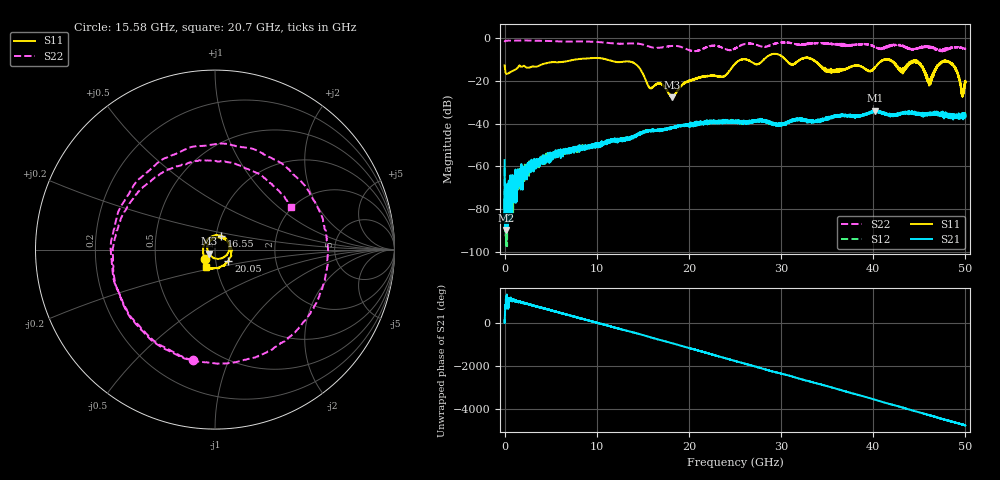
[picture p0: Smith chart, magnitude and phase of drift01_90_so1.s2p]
!Created with skrf (http://scikit-rf.org).
# Hz S RI R 50.0
!freq ReS11 ImS11 ReS21 ImS21 ReS12 ImS12 ReS22 ImS22
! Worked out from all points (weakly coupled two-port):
!   10001 points, 300 kHz to 50 GHz, reference 50 ohm
!   highest |S21| = -34.02 dB at 40.23 GHz (marker M1); lowest = -89.6 dB at 165.3 MHz (marker M2)
!   lowest |S11| = -27.9 dB at 18.15 GHz (marker M3), VSWR 1.08, Z = 46.7 - j2.04 ohm
!   |S11| at or under -10 dB: 10.9 GHz to 26 GHz (15.1 GHz wide, 81.8 % of centre); 33.36 GHz to 41.56 GHz (8.201 GHz wide, 21.9 % of centre); 41.6 GHz to end of sweep (the widest 3 of 15)
!   |S22| runs from -6.5 to -1.4 dB; largest |S21 - S12| = 0.0037
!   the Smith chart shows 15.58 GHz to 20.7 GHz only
!   S11 on the Smith chart (normalised r, x): 15.58 GHz: 0.89, -0.10; 16.55 GHz: 1.06, +0.16; 20.05 GHz: 1.15, -0.15; 20.7 GHz: 0.89, -0.18
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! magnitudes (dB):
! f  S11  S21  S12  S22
! 300 kHz  -12.9  -57.1  -60.9  -2.1
! 165.3 MHz  -16.9  -89.6  -97.0  -1.4
! 2.925 GHz  -13.6  -60.3  -59.1  -1.4
! 8.335 GHz  -9.9  -50.9  -51.4  -1.8
! 13.88 GHz  -11.5  -46.3  -46.3  -2.7
! 15.58 GHz  -22.4  -43.4  -43.3  -4.0
! 16.55 GHz  -21.5  -43.1  -43.2  -4.8
! 16.67 GHz  -21.3  -43.3  -43.3  -4.8
! 18.15 GHz  -27.9  -41.9  -42.1  -3.9
! 20.05 GHz  -20.1  -41.0  -40.1  -5.9
! 20.7 GHz  -19.1  -40.5  -40.6  -6.3
! 25 GHz  -12.2  -39.2  -39.2  -5.1
! 33.34 GHz  -10.0  -39.5  -39.1  -2.6
! 35.23 GHz  -14.9  -37.3  -37.5  -2.9
! 40.23 GHz  -13.6  -34.0  -34.4  -4.5
! 41.67 GHz  -10.3  -35.9  -36.1  -4.4
! 43.08 GHz  -15.2  -35.3  -35.5  -3.8
! 44.81 GHz  -11.1  -35.2  -35.5  -4.9
! 46.12 GHz  -20.5  -35.4  -35.5  -4.2
! 48.07 GHz  -11.0  -37.1  -35.7  -5.1
! 49.64 GHz  -24.6  -36.1  -35.8  -4.7
! 50 GHz  -20.9  -36.6  -35.5  -5.4
